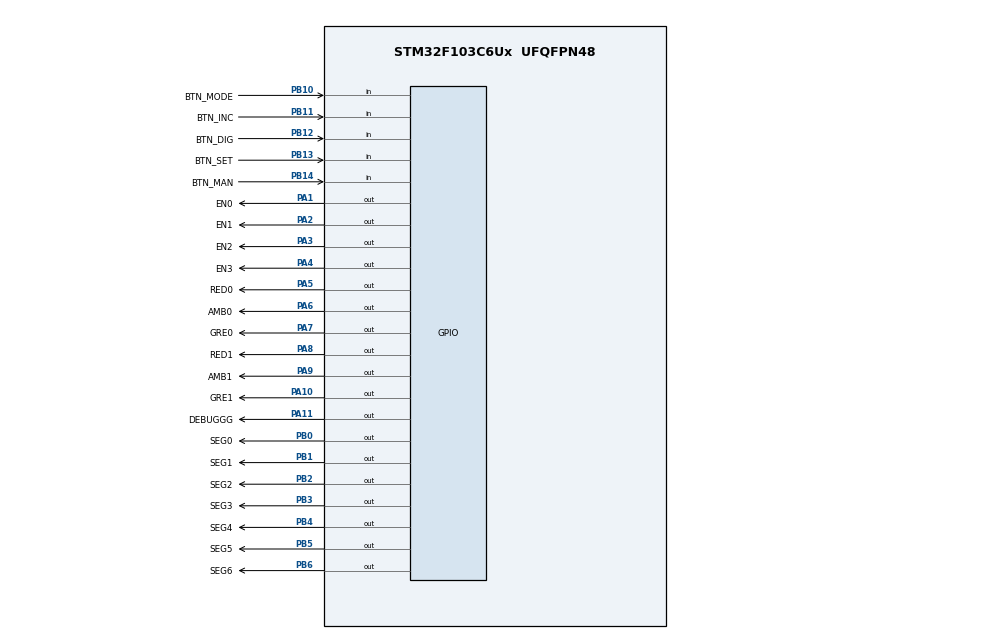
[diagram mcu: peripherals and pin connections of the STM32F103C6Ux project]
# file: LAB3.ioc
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Mcu.Family=STM32F1
Mcu.Name=STM32F103C6Ux
Mcu.Package=UFQFPN48
NVIC.PriorityGroup=NVIC_PRIORITYGROUP_4
NVIC.TIM2_IRQn=true\:0\:0\:false\:false\:true\:true\:true
PA1.GPIO_Label=EN0
PA1.Signal=GPIO_Output
PA10.GPIO_Label=GRE1
PA10.Signal=GPIO_Output
PA11.GPIO_Label=DEBUGGG
PA11.Signal=GPIO_Output
PA2.GPIO_Label=EN1
PA2.Signal=GPIO_Output
PA3.GPIO_Label=EN2
PA3.Signal=GPIO_Output
PA4.GPIO_Label=EN3
PA4.Signal=GPIO_Output
PA5.GPIO_Label=RED0
PA5.Signal=GPIO_Output
PA6.GPIO_Label=AMB0
PA6.Signal=GPIO_Output
PA7.GPIO_Label=GRE0
PA7.Signal=GPIO_Output
PA8.GPIO_Label=RED1
PA8.Signal=GPIO_Output
PA9.GPIO_Label=AMB1
PA9.Signal=GPIO_Output
PB0.GPIO_Label=SEG0
PB0.Signal=GPIO_Output
PB1.GPIO_Label=SEG1
PB1.Signal=GPIO_Output
PB10.GPIO_Label=BTN_MODE
PB10.GPIO_PuPd=GPIO_PULLUP
PB10.Signal=GPIO_Input
PB11.GPIO_Label=BTN_INC
PB11.GPIO_PuPd=GPIO_PULLUP
PB11.Signal=GPIO_Input
PB12.GPIO_Label=BTN_DIG
PB12.GPIO_PuPd=GPIO_PULLUP
PB12.Signal=GPIO_Input
PB13.GPIO_Label=BTN_SET
PB13.GPIO_PuPd=GPIO_PULLUP
PB13.Signal=GPIO_Input
PB14.GPIO_Label=BTN_MAN
PB14.GPIO_PuPd=GPIO_PULLUP
PB14.Signal=GPIO_Input
PB2.GPIO_Label=SEG2
PB2.Signal=GPIO_Output
PB3.GPIO_Label=SEG3
PB3.Signal=GPIO_Output
PB4.GPIO_Label=SEG4
PB4.Signal=GPIO_Output
PB5.GPIO_Label=SEG5
PB5.Signal=GPIO_Output
PB6.GPIO_Label=SEG6
PB6.Signal=GPIO_Output
ProjectManager.HeapSize=0x200
ProjectManager.StackSize=0x400
ProjectManager.TargetToolchain=STM32CubeIDE
RCC.APB1Freq_Value=8000000
RCC.APB2Freq_Value=8000000
TIM2.Period=9
TIM2.Prescaler=7999
VP_SYS_VS_ND.Mode=No_Debug
VP_TIM2_VS_ClockSourceINT.Mode=Internal
board=custom

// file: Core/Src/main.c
/* USER CODE BEGIN Header */
/**
  ******************************************************************************
  * @file           : main.c
  * @brief          : Main program body
  ******************************************************************************
  * @attention
  *
  * <h2><center>&copy; Copyright (c) 2026 STMicroelectronics.
  * All rights reserved.</center></h2>
  *
  * This software component is licensed by ST under BSD 3-Clause license,
  * the "License"; You may not use this file except in compliance with the
  * License. You may obtain a copy of the License at:
  *                        opensource.org/licenses/BSD-3-Clause
  *
  ******************************************************************************
  */
/* USER CODE END Header */
#include "main.h"

TIM_HandleTypeDef htim2;

void SystemClock_Config(void);
static void MX_GPIO_Init(void);
static void MX_TIM2_Init(void);

int main(void)
{

  /* MCU Configuration--------------------------------------------------------*/

  /* Reset of all peripherals, Initializes the Flash interface and the Systick. */
  HAL_Init();

  /* Configure the system clock */
  SystemClock_Config();

  /* Initialize all configured peripherals */
  MX_GPIO_Init();
  MX_TIM2_Init();
  /* USER CODE BEGIN 2 */
  HAL_TIM_Base_Start_IT(&htim2);
  timerInit();
  fsmAutomaticInit();
  blinkInit();
  /* USER CODE END 2 */

  /* Infinite loop */
  while (1)
  {

    /* USER CODE BEGIN 3 */
	  fsm_run();
	  update7SEGbuffer();
	  scan7SEG();
	  blinkRun();
  }
  /* USER CODE END 3 */
}

void SystemClock_Config(void)
{
  RCC_OscInitTypeDef RCC_OscInitStruct = {0};
  RCC_ClkInitTypeDef RCC_ClkInitStruct = {0};

  /** Initializes the RCC Oscillators according to the specified parameters
  * in the RCC_OscInitTypeDef structure.
  */
  RCC_OscInitStruct.OscillatorType = RCC_OSCILLATORTYPE_HSI;
  RCC_OscInitStruct.HSIState = RCC_HSI_ON;
  RCC_OscInitStruct.HSICalibrationValue = RCC_HSICALIBRATION_DEFAULT;
  RCC_OscInitStruct.PLL.PLLState = RCC_PLL_NONE;
  if (HAL_RCC_OscConfig(&RCC_OscInitStruct) != HAL_OK)
  {
    Error_Handler();
  }
  /** Initializes the CPU, AHB and APB buses clocks
  */
  RCC_ClkInitStruct.ClockType = RCC_CLOCKTYPE_HCLK|RCC_CLOCKTYPE_SYSCLK
                              |RCC_CLOCKTYPE_PCLK1|RCC_CLOCKTYPE_PCLK2;
  RCC_ClkInitStruct.SYSCLKSource = RCC_SYSCLKSOURCE_HSI;
  RCC_ClkInitStruct.AHBCLKDivider = RCC_SYSCLK_DIV1;
  RCC_ClkInitStruct.APB1CLKDivider = RCC_HCLK_DIV1;
  RCC_ClkInitStruct.APB2CLKDivider = RCC_HCLK_DIV1;

  if (HAL_RCC_ClockConfig(&RCC_ClkInitStruct, FLASH_LATENCY_0) != HAL_OK)
  {
    Error_Handler();
  }
}

static void MX_TIM2_Init(void)
{

  TIM_ClockConfigTypeDef sClockSourceConfig = {0};
  TIM_MasterConfigTypeDef sMasterConfig = {0};

  htim2.Instance = TIM2;
  htim2.Init.Prescaler = 7999;
  htim2.Init.CounterMode = TIM_COUNTERMODE_UP;
  htim2.Init.Period = 9;
  htim2.Init.ClockDivision = TIM_CLOCKDIVISION_DIV1;
  htim2.Init.AutoReloadPreload = TIM_AUTORELOAD_PRELOAD_DISABLE;
  if (HAL_TIM_Base_Init(&htim2) != HAL_OK)
  {
    Error_Handler();
  }
  sClockSourceConfig.ClockSource = TIM_CLOCKSOURCE_INTERNAL;
  if (HAL_TIM_ConfigClockSource(&htim2, &sClockSourceConfig) != HAL_OK)
  {
    Error_Handler();
  }
  sMasterConfig.MasterOutputTrigger = TIM_TRGO_RESET;
  sMasterConfig.MasterSlaveMode = TIM_MASTERSLAVEMODE_DISABLE;
  if (HAL_TIMEx_MasterConfigSynchronization(&htim2, &sMasterConfig) != HAL_OK)
  {
    Error_Handler();
  }

}

static void MX_GPIO_Init(void)
{
  GPIO_InitTypeDef GPIO_InitStruct = {0};

  /* GPIO Ports Clock Enable */
  __HAL_RCC_GPIOA_CLK_ENABLE();
  __HAL_RCC_GPIOB_CLK_ENABLE();

  /*Configure GPIO pin Output Level */
  HAL_GPIO_WritePin(GPIOA, EN0_Pin|EN1_Pin|EN2_Pin|EN3_Pin
                          |RED0_Pin|AMB0_Pin|GRE0_Pin|RED1_Pin
                          |AMB1_Pin|GRE1_Pin|DEBUGGG_Pin, GPIO_PIN_RESET);

  /*Configure GPIO pin Output Level */
  HAL_GPIO_WritePin(GPIOB, SEG0_Pin|SEG1_Pin|SEG2_Pin|SEG3_Pin
                          |SEG4_Pin|SEG5_Pin|SEG6_Pin, GPIO_PIN_RESET);

  /*Configure GPIO pins : EN0_Pin EN1_Pin EN2_Pin EN3_Pin
                           RED0_Pin AMB0_Pin GRE0_Pin RED1_Pin
                           AMB1_Pin GRE1_Pin DEBUGGG_Pin */
  GPIO_InitStruct.Pin = EN0_Pin|EN1_Pin|EN2_Pin|EN3_Pin
                          |RED0_Pin|AMB0_Pin|GRE0_Pin|RED1_Pin
                          |AMB1_Pin|GRE1_Pin|DEBUGGG_Pin;
  GPIO_InitStruct.Mode = GPIO_MODE_OUTPUT_PP;
  GPIO_InitStruct.Pull = GPIO_NOPULL;
  GPIO_InitStruct.Speed = GPIO_SPEED_FREQ_LOW;
  HAL_GPIO_Init(GPIOA, &GPIO_InitStruct);

  /*Configure GPIO pins : SEG0_Pin SEG1_Pin SEG2_Pin SEG3_Pin
                           SEG4_Pin SEG5_Pin SEG6_Pin */
  GPIO_InitStruct.Pin = SEG0_Pin|SEG1_Pin|SEG2_Pin|SEG3_Pin
                          |SEG4_Pin|SEG5_Pin|SEG6_Pin;
  GPIO_InitStruct.Mode = GPIO_MODE_OUTPUT_PP;
  GPIO_InitStruct.Pull = GPIO_NOPULL;
  GPIO_InitStruct.Speed = GPIO_SPEED_FREQ_LOW;
  HAL_GPIO_Init(GPIOB, &GPIO_InitStruct);

  /*Configure GPIO pins : BTN_MODE_Pin BTN_INC_Pin BTN_DIG_Pin BTN_SET_Pin
                           BTN_MAN_Pin */
  GPIO_InitStruct.Pin = BTN_MODE_Pin|BTN_INC_Pin|BTN_DIG_Pin|BTN_SET_Pin
                          |BTN_MAN_Pin;
  GPIO_InitStruct.Mode = GPIO_MODE_INPUT;
  GPIO_InitStruct.Pull = GPIO_PULLUP;
  HAL_GPIO_Init(GPIOB, &GPIO_InitStruct);

}

/* USER CODE BEGIN 4 */
void HAL_TIM_PeriodElapsedCallback(TIM_HandleTypeDef *htim){
	timer_run();
	getKeyInput();
}

void fsm_run(){
	if (getMode() == 0) {
		fsmAutomaticRun();
		fsmManualRun();
	}

	if (getMode() == 1){
		traffic_light(TRAFFIC_RED_RED);
	}
	if (getMode() == 2){
		traffic_light(TRAFFIC_AMBER_AMBER);
	}
	if (getMode() == 3){
		traffic_light(TRAFFIC_GREEN_GREEN);
	}
	if (getMode() == 4){
		traffic_light(TRAFFIC_OFF);
	}
	checkBtnMode();
	checkBtnInc();
	checkBtnDig();
	checkBtnSet();
}
/* USER CODE END 4 */

void Error_Handler(void)
{
  __disable_irq();
  while (1)
  {
  }
}

/************************ (C) COPYRIGHT STMicroelectronics *****END OF FILE****/
